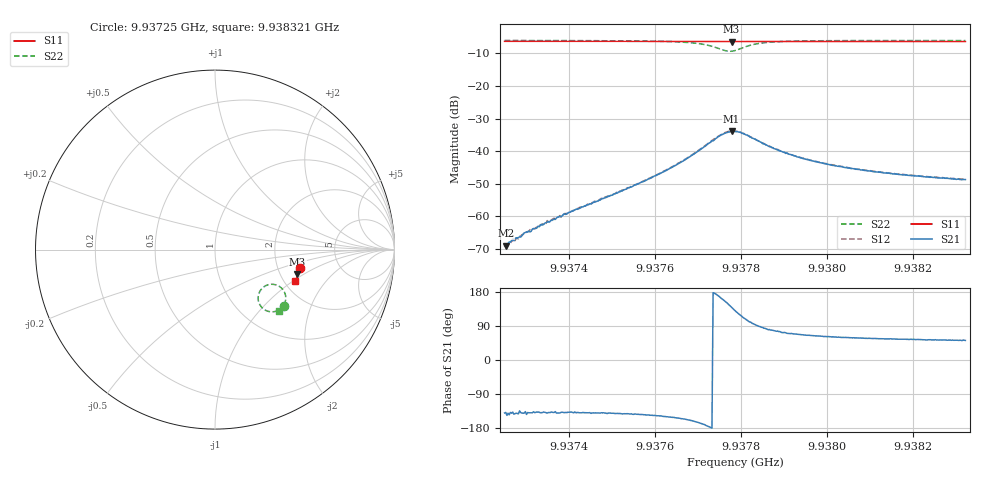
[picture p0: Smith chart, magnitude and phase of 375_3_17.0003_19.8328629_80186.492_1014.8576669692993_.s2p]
#  HZ  S  RI  R  50.00
! Rohde & Schwarz Vector Network Analyzer
! Rohde-Schwarz,ZNB20-2Port,1311601062101988,3.16
! Created: UTC 3/20/2024, 11:08:55 PM
! freq[Hz]  re:S11  im:S11  re:S21  im:S21  re:S12  im:S12  re:S22  im:S22
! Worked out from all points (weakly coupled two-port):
!   401 points, 9.93725 GHz to 9.938321 GHz, reference 50 ohm
!   highest |S21| = -33.93 dB at 9.937778 GHz (marker M1); lowest = -69.0 dB at 9.937253 GHz (marker M2)
!   lowest |S11| = -6.4 dB at 9.937778 GHz (marker M3), VSWR 2.84, Z = 123 - j44.4 ohm
!   |S11| at or under -10 dB: nowhere
!   |S22| runs from -9.4 to -6.1 dB; largest |S21 - S12| = 0.0009
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9.9372503e9  0.4722 -0.1049  -0.000271 -0.000229  -0.00026 -0.00024  0.3872 -0.3136
9.9372529e9  0.4722 -0.105  -0.000264 -0.000234  -0.00029 -0.000209  0.3869 -0.3136
9.9372637e9  0.472 -0.1059  -0.000302 -0.000268  -0.000311 -0.000226  0.3863 -0.3144
9.9372851e9  0.4716 -0.1073  -0.000339 -0.000347  -0.000382 -0.000312  0.3846 -0.3158
9.9373011e9  0.4712 -0.1083  -0.000467 -0.000343  -0.000416 -0.000385  0.3837 -0.3172
9.9373654e9  0.4699 -0.1127  -0.000673 -0.000599  -0.0007 -0.000621  0.3782 -0.3217
9.9374296e9  0.4685 -0.117  -0.00106 -0.000913  -0.00106 -0.000905  0.3721 -0.3268
9.9375019e9  0.4669 -0.1219  -0.00165 -0.00136  -0.00169 -0.00135  0.3631 -0.3332
9.937609e9  0.4644 -0.129  -0.00375 -0.00238  -0.00383 -0.00237  0.3402 -0.3438
9.9376679e9  0.4626 -0.1331  -0.00661 -0.00298  -0.00679 -0.00291  0.3136 -0.3465
9.9377161e9  0.461 -0.1362  -0.0117 -0.00183  -0.012 -0.00159  0.2727 -0.3324
9.9377509e9  0.4595 -0.1379  -0.0167 0.0043  -0.0169 0.00472  0.2409 -0.2791
9.9377642e9  0.459 -0.1382  -0.017 0.00849  -0.0171 0.0092  0.2447 -0.2447
9.9377776e9  0.4586 -0.1385  -0.0152 0.0132  -0.0151 0.0138  0.2658 -0.2126
9.9377857e9  0.4587 -0.1387  -0.013 0.0153  -0.0126 0.0159  0.2853 -0.1997
9.9378071e9  0.459 -0.1396  -0.00633 0.0171  -0.00597 0.0175  0.3397 -0.1965
9.9378419e9  0.459 -0.1421  0.000359 0.0141  0.000617 0.0143  0.3844 -0.2324
9.9379034e9  0.4579 -0.1466  0.0029 0.00875  0.00298 0.00888  0.3938 -0.2791
9.937965e9  0.4565 -0.1509  0.00307 0.00639  0.00325 0.00639  0.3886 -0.3012
9.9380426e9  0.4544 -0.1561  0.00282 0.00482  0.00298 0.00481  0.3808 -0.3166
9.9381444e9  0.4518 -0.1627  0.0026 0.00378  0.00267 0.00376  0.372 -0.3295
9.938321e9  0.4468 -0.174  0.00227 0.00287  0.00231 0.00285  0.3591 -0.3436
